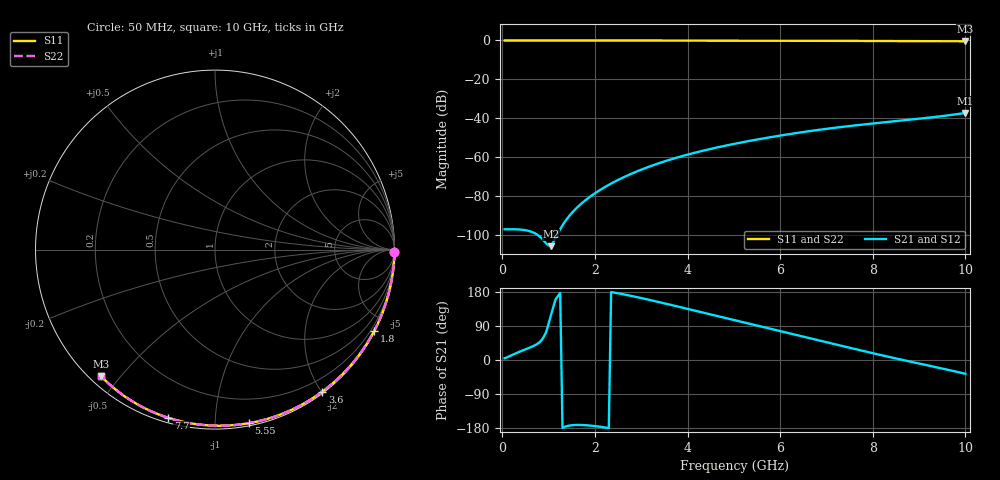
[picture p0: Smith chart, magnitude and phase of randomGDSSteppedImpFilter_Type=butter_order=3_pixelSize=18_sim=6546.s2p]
! freq	dB(S11)	phase(S11)	dB(S12)	phase(S12)
!  dB(S21)	phase(S21)	dB(S22)	phase(S22)
!S-par simulation data
#  GHz  S  DB  R 50
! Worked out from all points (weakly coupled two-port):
!   200 points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, 50 MHz to 10 GHz, reference 50 ohm
!   highest |S21| = -37.25 dB at 10 GHz (marker M1); lowest = -105.8 dB at 1.05 GHz (marker M2)
!   lowest |S11| = -0.5 dB at 10 GHz (marker M3), VSWR 38.53, Z = 1.56 - j22.3 ohm
!   |S11| at or under -10 dB: nowhere
!   |S22| runs from -0.5 to 0.0 dB; largest |S21 - S12| = 0
!   S11 on the Smith chart (normalised r, x): 50 MHz: open; 1.8 GHz: 0.04, -4.16; 3.6 GHz: 0.02, -2.01; 5.55 GHz: 0.02, -1.21; 7.7 GHz: 0.02, -0.76; 10 GHz: 0.03, -0.45
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0.05  -0.00 -0.8  -97.07 4.7  -97.07 4.7  -0.00 -0.8
0.55  -0.01 -8.4  -97.80 30.5  -97.80 30.5  -0.01 -8.4
1.05  -0.02 -15.9  -105.76 117.9  -105.76 117.9  -0.02 -15.9
1.75  -0.03 -26.3  -83.02 -171.7  -83.02 -171.7  -0.03 -26.3
1.8  -0.03 -27.0  -82.05 -172.0  -82.05 -172.0  -0.03 -27.0
1.9  -0.04 -28.5  -80.25 -173.0  -80.25 -173.0  -0.04 -28.5
1.95  -0.04 -29.2  -79.40 -173.6  -79.40 -173.6  -0.04 -29.2
2.25  -0.04 -33.6  -74.88 -178.6  -74.88 -178.6  -0.04 -33.6
2.55  -0.05 -38.0  -71.11 174.9  -71.11 174.9  -0.05 -38.0
2.95  -0.06 -43.7  -66.90 164.8  -66.90 164.8  -0.06 -43.7
3.4  -0.07 -50.1  -62.97 152.4  -62.97 152.4  -0.07 -50.1
3.6  -0.07 -52.9  -61.44 146.6  -61.44 146.6  -0.07 -52.9
3.9  -0.08 -57.0  -59.35 137.9  -59.35 137.9  -0.08 -57.0
4.25  -0.09 -61.8  -57.17 127.6  -57.17 127.6  -0.09 -61.8
5.05  -0.11 -72.5  -52.96 104.2  -52.96 104.2  -0.11 -72.5
5.55  -0.13 -79.0  -50.72 89.7  -50.72 89.7  -0.13 -79.0
6.1  -0.15 -86.0  -48.52 73.7  -48.52 73.7  -0.15 -86.0
6.7  -0.18 -93.4  -46.39 56.0  -46.39 56.0  -0.18 -93.4
7.7  -0.24 -105.5  -43.45 26.5  -43.45 26.5  -0.24 -105.5
8.35  -0.29 -113.1  -41.84 8.2  -41.84 8.2  -0.29 -113.1
9.35  -0.38 -124.6  -39.32 -18.5  -39.32 -18.5  -0.38 -124.6
10  -0.45 -131.9  -37.25 -36.5  -37.25 -36.5  -0.45 -131.9
